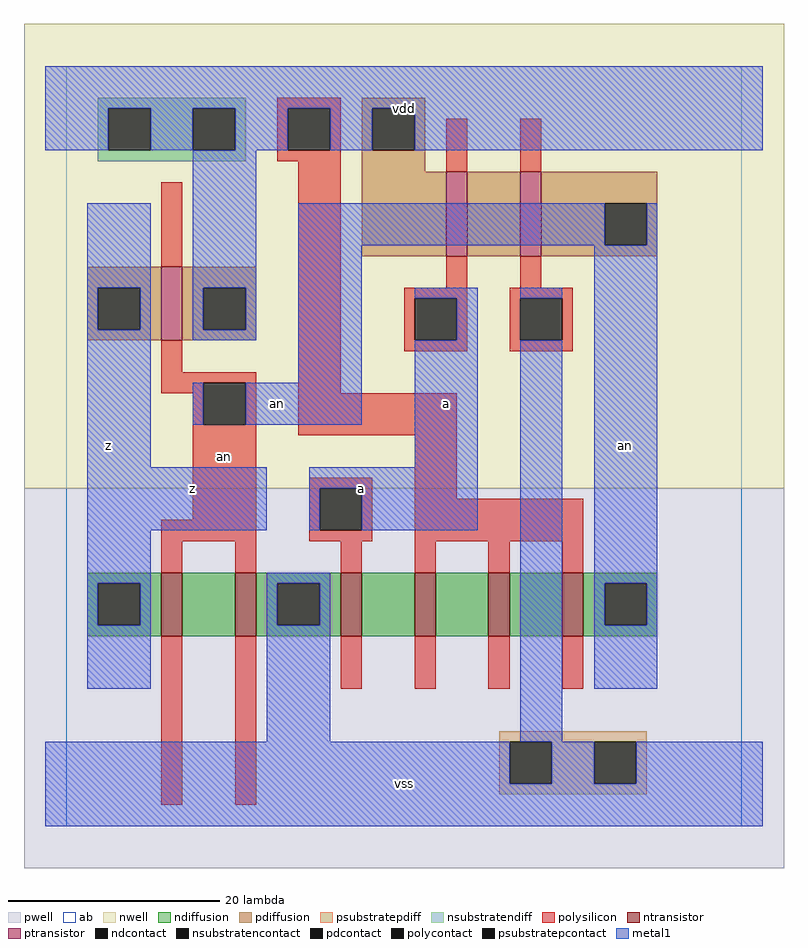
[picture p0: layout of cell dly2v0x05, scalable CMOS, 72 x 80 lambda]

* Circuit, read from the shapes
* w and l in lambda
.subckt dly2v0x05 a an vdd vss z
M1 n1 an z vss nfet w=6 l=2
M2 vss an n1 vss nfet w=6 l=2
M3 n2 a vss vss nfet w=6 l=2
M4 n3 vdd n2 vss nfet w=6 l=2
M5 n4 vdd n3 vss nfet w=6 l=2
M6 an vdd n4 vss nfet w=6 l=2
M7 vdd an z vdd pfet w=7 l=2
M8 n5 a vdd vdd pfet w=8 l=2
M9 an vss n5 vdd pfet w=8 l=2
.ends

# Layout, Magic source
magic
tech scmos
<< ab >>
rect 0 0 64 72
<< pwell >>
rect -4 -4 68 32
<< nwell >>
rect -4 32 68 76
<< polysilicon >>
rect 20 68 26 69
rect 20 64 21 68
rect 25 64 26 68
rect 20 63 26 64
rect 9 53 11 61
rect 9 43 11 46
rect 9 42 18 43
rect 9 41 13 42
rect 12 38 13 41
rect 17 38 18 42
rect 12 29 18 38
rect 22 41 26 63
rect 36 62 38 67
rect 43 62 45 67
rect 36 51 38 54
rect 43 51 45 54
rect 32 50 38 51
rect 32 46 33 50
rect 37 46 38 50
rect 32 45 38 46
rect 42 50 48 51
rect 42 46 43 50
rect 47 46 48 50
rect 42 45 48 46
rect 22 37 37 41
rect 9 27 18 29
rect 23 32 29 33
rect 23 28 24 32
rect 28 28 29 32
rect 23 27 29 28
rect 33 31 37 37
rect 33 27 49 31
rect 9 24 11 27
rect 16 24 18 27
rect 26 24 28 27
rect 33 24 35 27
rect 40 24 42 27
rect 47 24 49 27
rect 9 2 11 18
rect 16 2 18 18
rect 26 13 28 18
rect 33 13 35 18
rect 40 13 42 18
rect 47 13 49 18
<< ndiffusion >>
rect 2 23 9 24
rect 2 19 3 23
rect 7 19 9 23
rect 2 18 9 19
rect 11 18 16 24
rect 18 23 26 24
rect 18 19 20 23
rect 24 19 26 23
rect 18 18 26 19
rect 28 18 33 24
rect 35 18 40 24
rect 42 18 47 24
rect 49 23 56 24
rect 49 19 51 23
rect 55 19 56 23
rect 49 18 56 19
<< pdiffusion >>
rect 2 51 9 53
rect 2 47 3 51
rect 7 47 9 51
rect 2 46 9 47
rect 11 51 18 53
rect 11 47 13 51
rect 17 47 18 51
rect 11 46 18 47
rect 28 68 34 69
rect 28 64 29 68
rect 33 64 34 68
rect 28 62 34 64
rect 28 54 36 62
rect 38 54 43 62
rect 45 59 56 62
rect 45 55 51 59
rect 55 55 56 59
rect 45 54 56 55
<< metal1 >>
rect -2 68 66 72
rect -2 64 4 68
rect 8 64 12 68
rect 16 64 21 68
rect 25 64 29 68
rect 33 64 66 68
rect 2 51 8 59
rect 2 47 3 51
rect 7 47 8 51
rect 2 34 8 47
rect 12 51 18 64
rect 12 47 13 51
rect 17 47 18 51
rect 12 46 18 47
rect 22 55 51 59
rect 55 55 56 59
rect 22 42 28 55
rect 12 38 13 42
rect 17 38 28 42
rect 33 50 39 51
rect 37 46 39 50
rect 33 34 39 46
rect 2 28 19 34
rect 23 32 39 34
rect 23 28 24 32
rect 28 28 39 32
rect 43 50 47 51
rect 2 23 8 28
rect 2 19 3 23
rect 7 19 8 23
rect 2 13 8 19
rect 19 23 25 24
rect 19 19 20 23
rect 24 19 25 23
rect 19 8 25 19
rect 43 8 47 46
rect 50 23 56 55
rect 50 19 51 23
rect 55 19 56 23
rect 50 13 56 19
rect -2 4 42 8
rect 46 4 50 8
rect 54 4 66 8
rect -2 0 66 4
<< ntransistor >>
rect 9 18 11 24
rect 16 18 18 24
rect 26 18 28 24
rect 33 18 35 24
rect 40 18 42 24
rect 47 18 49 24
<< ptransistor >>
rect 9 46 11 53
rect 36 54 38 62
rect 43 54 45 62
<< polycontact >>
rect 21 64 25 68
rect 13 38 17 42
rect 33 46 37 50
rect 43 46 47 50
rect 24 28 28 32
<< ndcontact >>
rect 3 19 7 23
rect 20 19 24 23
rect 51 19 55 23
<< pdcontact >>
rect 3 47 7 51
rect 13 47 17 51
rect 29 64 33 68
rect 51 55 55 59
<< psubstratepcontact >>
rect 42 4 46 8
rect 50 4 54 8
<< nsubstratencontact >>
rect 4 64 8 68
rect 12 64 16 68
<< psubstratepdiff >>
rect 41 8 55 9
rect 41 4 42 8
rect 46 4 50 8
rect 54 4 55 8
rect 41 3 55 4
<< nsubstratendiff >>
rect 3 68 17 69
rect 3 64 4 68
rect 8 64 12 68
rect 16 64 17 68
rect 3 63 17 64
<< labels >>
rlabel polysilicon 15 35 15 35 6 an
rlabel metal1 12 32 12 32 6 z
rlabel metal1 4 36 4 36 6 z
rlabel metal1 28 32 28 32 6 a
rlabel metal1 20 40 20 40 6 an
rlabel metal1 32 4 32 4 6 vss
rlabel metal1 36 40 36 40 6 a
rlabel metal1 32 68 32 68 6 vdd
rlabel metal1 53 36 53 36 6 an
<< end >>
